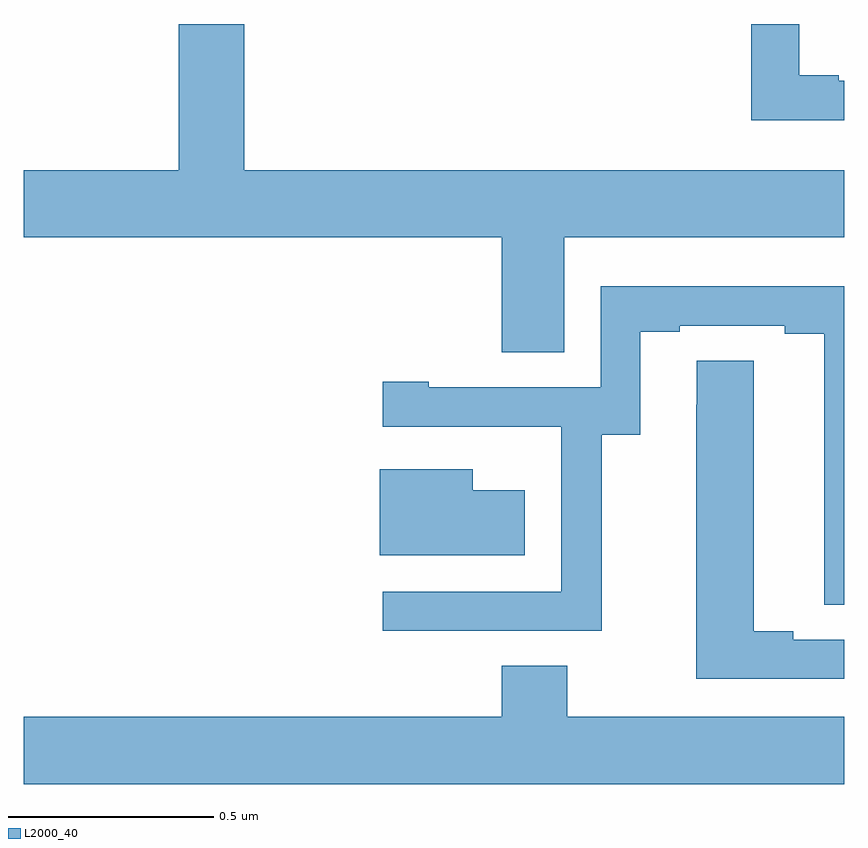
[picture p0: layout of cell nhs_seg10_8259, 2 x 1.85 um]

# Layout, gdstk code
import gdstk
lib = gdstk.Library(unit=1e-6, precision=1e-09)
def P(c, l, *ps):  # polygons
    for p in ps: c.add(gdstk.Polygon(p, *l))
L2000_40 = (2000, 40)

nhs_seg10_8259 = lib.new_cell('nhs_seg10_8259')
P(nhs_seg10_8259, L2000_40, [(215.317,1302.98),(216,1302.98),(216,1303.144),(214.538,1303.144),(214.538,1303.5),(214.378,1303.5),(214.378,1303.144),(214,1303.144),(214,1302.98),(215.165,1302.98),(215.165,1302.7),(215.317,1302.7)],
  [(216,1303.362),(215.986,1303.362),(215.986,1303.375),(215.89,1303.375),(215.89,1303.5),(215.773,1303.5),(215.773,1303.266),(216,1303.266)],
  [(215.409,1302.499),(215.503,1302.499),(215.503,1302.75),(215.599,1302.75),(215.599,1302.765),(215.855,1302.765),(215.855,1302.745),(215.951,1302.745),(215.951,1302.085),(216,1302.085),(216,1302.861),(215.406,1302.861),(215.406,1302.615),(214.987,1302.615),(214.987,1302.628),(214.875,1302.628),(214.875,1302.519),(215.309,1302.519),(215.309,1302.518),(215.31,1302.518),(215.31,1302.117),(214.875,1302.117),(214.875,1302.021),(215.409,1302.021)],
  [(216,1302),(215.875,1302),(215.875,1302.02),(215.779,1302.02),(215.779,1302.68),(215.64,1302.68),(215.64,1302.572),(215.639,1302.572),(215.639,1301.904),(216,1301.904)],
  [(215.221,1302.364),(215.095,1302.364),(215.095,1302.415),(214.868,1302.415),(214.868,1302.206),(215.221,1302.206)],
  [(216,1301.812),(215.325,1301.812),(215.325,1301.936),(215.165,1301.936),(215.165,1301.812),(214,1301.812),(214,1301.648),(216,1301.648)])

lib.write_gds('nhs_seg10_8259.gds')
